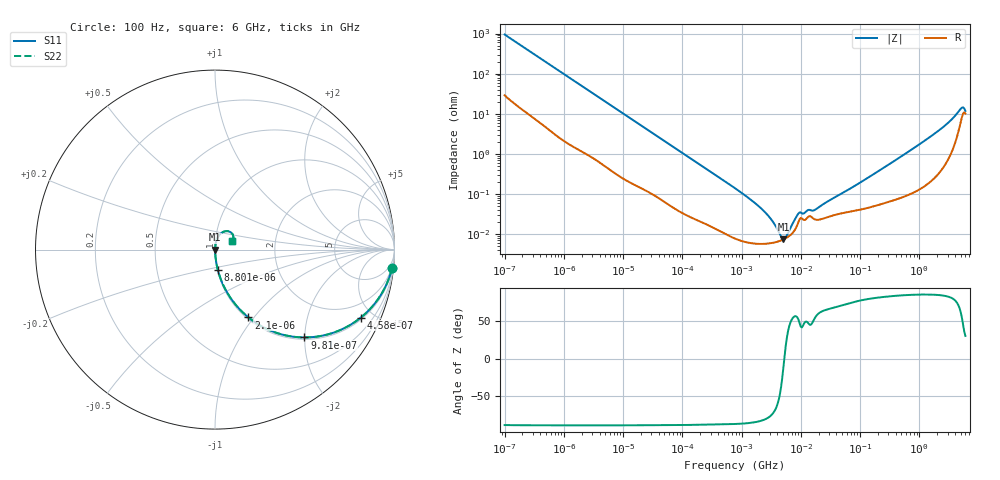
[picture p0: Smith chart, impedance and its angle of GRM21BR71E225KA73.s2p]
!Murata Part Number: GRM21BR71E225KA73
!These Parameters are Measured in Series Mode Connection
!Data Generated on Mar 30, 2021
!  o--ll--o
!Port1  Port2
!  o------o
!Operation Temp=25[degC], DC Bias Voltage=0[V]
!Freq. Start=100[Hz] Stop=6[GHz] 401[Steps]
# Hz S RI R 50
!Freq.(Hz) S11(Real) S11(Imag) S21(Real) S21(Imag) S12(Real) S12(Imag) S22(Real) S22(Imag)
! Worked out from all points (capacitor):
!   401 points, 100 Hz to 6 GHz, reference 50 ohm
!   read as one part in series: C = 1.67 uF near 109 Hz
!   lowest |Z| = 7.46 mohm at 5.079 MHz (marker M1)
!   series resonance near 5.26 MHz, so ESL is about 550 pH
!   S11 on the Smith chart (normalised r, x): 100 Hz: 2, -19; 458 Hz: 1.10, -4.23; 981 Hz: 1.04, -1.99; 2.1 kHz: 1.02, -0.94; 8.801 kHz: 1.01, -0.23; 6 GHz: 1.20, +0.12
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100  0.9859 -0.1036  0.0141 0.1036  0.0141 0.1036  0.9859 -0.1036
245  0.9335 -0.2366  0.0665 0.2366  0.0665 0.2366  0.9335 -0.2366
458  0.8115 -0.3794  0.1885 0.3794  0.1885 0.3794  0.8115 -0.3794
981  0.4984 -0.4894  0.5016 0.4894  0.5016 0.4894  0.4984 -0.4894
2008  0.1999 -0.3885  0.8001 0.3885  0.8001 0.3885  0.1999 -0.3885
2100  0.1866 -0.3781  0.8134 0.3781  0.8134 0.3781  0.1866 -0.3781
3931  0.0656 -0.2356  0.9344 0.2356  0.9344 0.2356  0.0656 -0.2356
8801  0.0156 -0.1126  0.9844 0.1126  0.9844 0.1126  0.0156 -0.1126
40335  0.00143 -0.0256  0.9986 0.0256  0.9986 0.0256  0.00143 -0.0256
774597  7.87e-05 -0.00139  0.9999 0.00139  0.9999 0.00139  7.87e-05 -0.00139
2169299  5.68e-05 -0.000423  0.9999 0.000423  0.9999 0.000423  5.68e-05 -0.000423
3103719  5.91e-05 -0.000233  0.9999 0.000233  0.9999 0.000233  5.91e-05 -0.000233
4246196  6.59e-05 -9.16e-05  0.9999 9.16e-05  0.9999 9.16e-05  6.59e-05 -9.16e-05
5079039  7.31e-05 -1.49e-05  0.9999 1.49e-05  0.9999 1.49e-05  7.31e-05 -1.49e-05
6075234  8.47e-05 6.31e-05  0.9999 -6.31e-05  0.9999 -6.31e-05  8.47e-05 6.31e-05
9090158  0.000196 0.000257  0.9998 -0.000257  0.9998 -0.000257  0.000196 0.000257
1.555665e7  0.000257 0.000283  0.9997 -0.000283  0.9997 -0.000283  0.000257 0.000283
3.124326e8  0.000671 0.00549  0.9993 -0.00549  0.9993 -0.00549  0.000671 0.00549
2.048624e9  0.00433 0.0361  0.9957 -0.0361  0.9957 -0.0361  0.00433 0.0361
3.8344e9  0.0212 0.0779  0.9788 -0.0779  0.9788 -0.0779  0.0212 0.0779
5.016141e9  0.0707 0.103  0.9293 -0.103  0.9293 -0.103  0.0707 0.103
6e9  0.0946 0.0493  0.9054 -0.0493  0.9054 -0.0493  0.0946 0.0493
